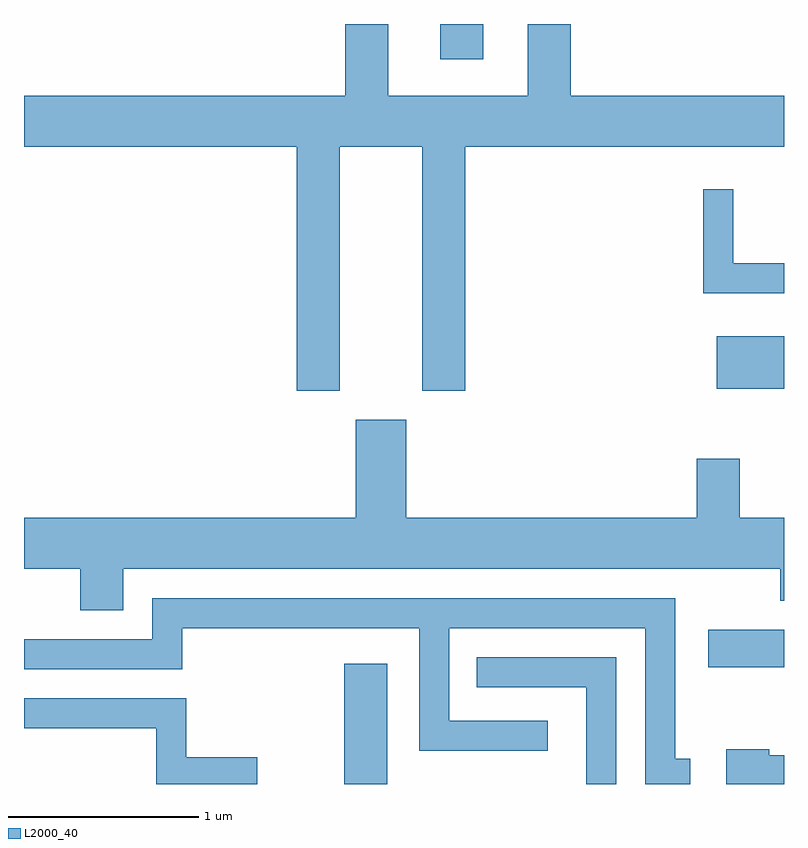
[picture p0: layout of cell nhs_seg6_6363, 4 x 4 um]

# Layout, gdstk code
import gdstk
lib = gdstk.Library(unit=1e-6, precision=1e-09)
def R(c, l, rs):  # rectangles x0, y0, x1, y1
    for r in rs: c.add(gdstk.rectangle(r[:2], r[2:], *l))
def P(c, l, *ps):  # polygons
    for p in ps: c.add(gdstk.Polygon(p, *l))
L2000_40 = (2000, 40)

nhs_seg6_6363 = lib.new_cell('nhs_seg6_6363')
R(nhs_seg6_6363, L2000_40, [(379.296,1622.162,379.524,1622.794), (381.211,1622.776,381.611,1622.974), (381.256,1624.241,381.611,1624.519), (379.801,1625.976,380.029,1626.162)])
P(nhs_seg6_6363, L2000_40, [(379.274,1625.516),(379.706,1625.516),(379.706,1624.231),(379.934,1624.231),(379.934,1625.516),(381.611,1625.516),(381.611,1625.784),(380.489,1625.784),(380.489,1626.162),(380.261,1626.162),(380.261,1625.784),(379.529,1625.784),(379.529,1626.162),(379.301,1626.162),(379.301,1625.784),(377.611,1625.784),(377.611,1625.516),(379.046,1625.516),(379.046,1624.231),(379.274,1624.231)],
  [(381.611,1624.904),(381.344,1624.904),(381.344,1625.293),(381.186,1625.293),(381.186,1624.746),(381.611,1624.746)],
  [(377.611,1623.296),(377.906,1623.296),(377.906,1623.076),(378.134,1623.076),(378.134,1623.296),(381.591,1623.296),(381.591,1623.126),(381.611,1623.126),(381.611,1623.564),(381.379,1623.564),(381.379,1623.874),(381.151,1623.874),(381.151,1623.564),(379.624,1623.564),(379.624,1624.079),(379.356,1624.079),(379.356,1623.564),(377.611,1623.564)],
  [(381.118,1622.294),(381.039,1622.294),(381.039,1623.139),(378.286,1623.139),(378.286,1622.924),(377.611,1622.924),(377.611,1622.766),(378.444,1622.766),(378.444,1622.981),(379.691,1622.981),(379.691,1622.336),(380.368,1622.336),(380.368,1622.494),(379.849,1622.494),(379.849,1622.981),(380.881,1622.981),(380.881,1622.162),(381.118,1622.162)],
  [(380.729,1622.829),(379.993,1622.829),(379.993,1622.671),(380.571,1622.671),(380.571,1622.162),(380.729,1622.162)],
  [(378.838,1622.304),(378.464,1622.304),(378.464,1622.614),(377.611,1622.614),(377.611,1622.456),(378.306,1622.456),(378.306,1622.162),(378.838,1622.162)],
  [(381.611,1622.314),(381.534,1622.314),(381.534,1622.344),(381.306,1622.344),(381.306,1622.162),(381.611,1622.162)])

lib.write_gds('nhs_seg6_6363.gds')
